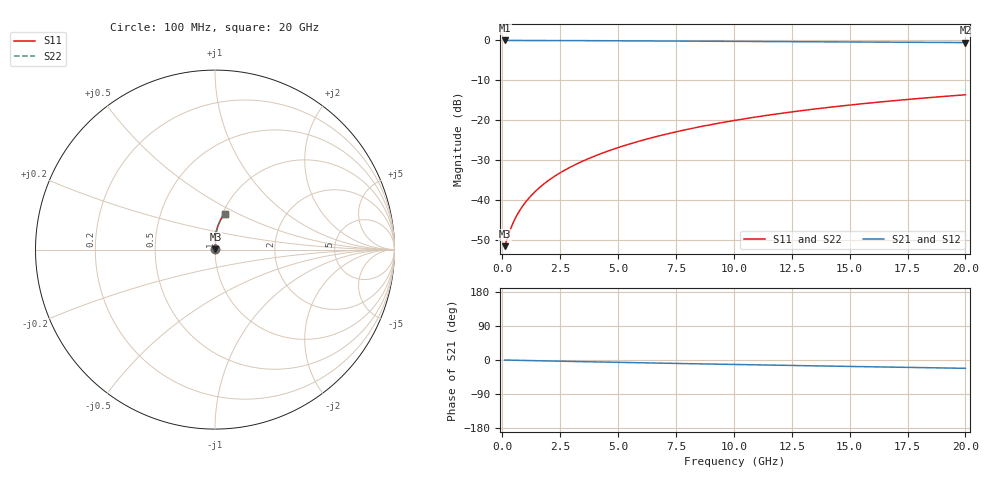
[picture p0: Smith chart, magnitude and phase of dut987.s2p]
! Touchstone file exported from HFSS 2024.1.0
!  File:  C:/UserFiles/LocalFiles/RDL_TSV_Batchsim/temp_RDL_top_987_1779939465.aedt
!  Generated:  11:40:22 AM May 28, 2026
!  Design:  RDL_top
!  Project:  temp_RDL_top_987_1779939465
!  Setup:  Setup1
!  Solution:  Sweep
! Variables:
!  dtsv = 10.80580581um
!  hbump = 3um
!  htsv = 74.95um
!  ldown = 100um
!  lrdl = 300.97um
!  p = 40
!  p1 = 44.2um
!  rhole = 1um
!  t = 450um
!  tdown = 3.915915916um
!  trdl = 2.15um
!  wdown = 15.38538539um
!  wrdl = 24.35um
# GHz S MA R 50.000000
! Terminal data exported
! Port[1] = Box2_T1
! Port[2] = Box2_T2
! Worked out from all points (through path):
!   200 points, 100 MHz to 20 GHz, reference 50 ohm
!   highest |S21| = -0.02 dB at 100 MHz (marker M1); lowest = -0.6 dB at 20 GHz (marker M2)
!   group delay of S21, straight-line fit = 3.02 ps
!   lowest |S11| = -51.6 dB at 100 MHz (marker M3), VSWR 1.01, Z = 50.2 + j0.0994 ohm
!   |S11| at or under -10 dB: start of sweep to end of sweep
!   |S22| runs from -51.6 to -13.6 dB; largest |S21 - S12| = 2e-15
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0.1  0.002628 22.1  0.9976 -0.1  0.9976 -0.1  0.002628 22.1
! Gamma 0 0 0 0
! Port Impedance 50 0 50 0
0.3  0.003872 48.2  0.9974 -0.4  0.9974 -0.4  0.003872 48.2
0.4  0.004627 54.8  0.9972 -0.5  0.9972 -0.5  0.004628 54.8
0.6  0.006176 62.9  0.997 -0.8  0.997 -0.8  0.006176 62.9
0.7  0.006956 65.8  0.9969 -0.9  0.9969 -0.9  0.006957 65.8
0.9  0.008529 70.0  0.9966 -1.2  0.9966 -1.2  0.008529 70.0
1.2  0.01093 74.4  0.9962 -1.6  0.9962 -1.6  0.01093 74.4
1.4  0.01256 76.6  0.996 -1.8  0.996 -1.8  0.01256 76.6
1.7  0.01504 79.1  0.9956 -2.2  0.9956 -2.2  0.01504 79.1
2.2  0.01928 82.0  0.9948 -2.8  0.9948 -2.8  0.01928 82.0
2.8  0.02452 84.3  0.9937 -3.5  0.9937 -3.5  0.02452 84.3
3.5  0.03085 86.1  0.9921 -4.4  0.9921 -4.4  0.03085 86.0
4.2  0.03743 87.2  0.9903 -5.2  0.9903 -5.2  0.03743 87.2
5  0.04524 87.9  0.9881 -6.2  0.9881 -6.2  0.04524 87.9
5.9  0.05436 88.3  0.9854 -7.2  0.9854 -7.2  0.05435 88.3
6.8  0.06378 88.3  0.9825 -8.3  0.9825 -8.3  0.06377 88.2
8.4  0.08108 87.5  0.9772 -10.1  0.9772 -10.1  0.08107 87.5
10.1  0.09993 86.1  0.9715 -11.9  0.9715 -11.9  0.09991 86.1
11.7  0.1178 84.5  0.9661 -13.6  0.9661 -13.6  0.1178 84.5
13.4  0.1368 82.6  0.9604 -15.3  0.9604 -15.3  0.1368 82.6
16.7  0.173 78.8  0.9495 -18.7  0.9495 -18.7  0.173 78.7
20  0.2079 74.9  0.9385 -22.0  0.9385 -22.0  0.2079 74.9
